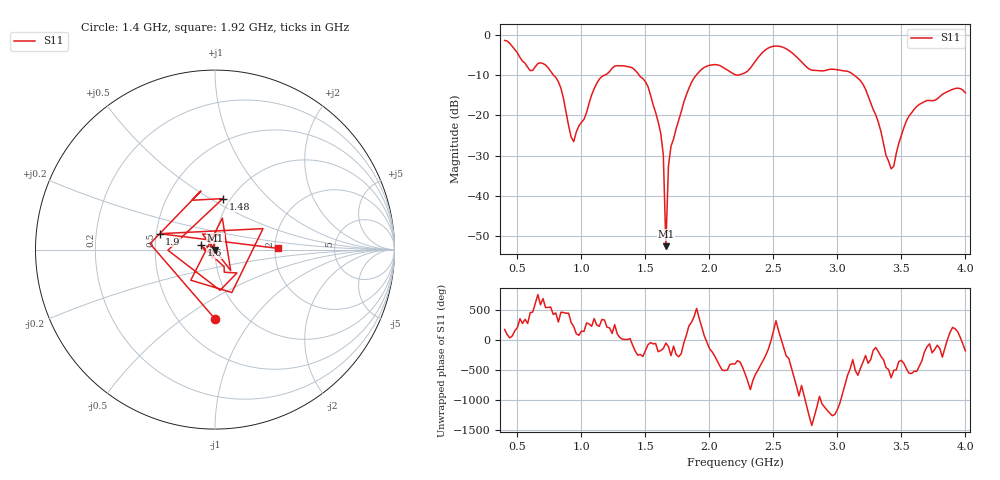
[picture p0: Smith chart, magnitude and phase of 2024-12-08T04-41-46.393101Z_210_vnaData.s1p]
!Created with skrf (http://scikit-rf.org).
# Hz S RI R 50.0
!freq ReS11 ImS11
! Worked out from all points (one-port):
!   181 points, 400 MHz to 4 GHz, reference 50 ohm
!   lowest |S11| = -52.6 dB at 1.66 GHz (marker M1), VSWR 1.00, Z = 50.1 - j0.193 ohm
!   |S11| at or under -10 dB: 781.7 MHz to 1.179 GHz (397.2 MHz wide, 40.5 % of centre); 1.452 GHz to 1.897 GHz (444.7 MHz wide, 26.6 % of centre); 3.131 GHz to end of sweep (the widest 3 of 4)
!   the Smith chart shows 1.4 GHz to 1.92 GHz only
!   S11 on the Smith chart (normalised r, x): 1.4 GHz: 0.74, -0.68; 1.48 GHz: 0.92, +0.57; 1.6 GHz: 0.85, +0.04; 1.9 GHz: 0.52, +0.10; 1.92 GHz: 2.07, +0.03
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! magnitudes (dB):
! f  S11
! 400 MHz  -1.3
! 600 MHz  -8.9
! 720 MHz  -7.5
! 860 MHz  -15.8
! 940 MHz  -26.5
! 1.14 GHz  -11.0
! 1.3 GHz  -7.6
! 1.4 GHz  -8.2
! 1.48 GHz  -10.8
! 1.6 GHz  -21.7
! 1.64 GHz  -29.8
! 1.66 GHz  -52.6
! 1.68 GHz  -32.6
! 1.7 GHz  -27.7
! 1.76 GHz  -21.2
! 1.9 GHz  -9.9
! 1.92 GHz  -9.2
! 2.04 GHz  -7.4
! 2.2 GHz  -9.9
! 2.48 GHz  -3.0
! 2.66 GHz  -4.8
! 2.8 GHz  -8.7
! 3.1 GHz  -9.3
! 3.22 GHz  -13.5
! 3.42 GHz  -33.3
! 3.56 GHz  -20.1
! 3.9 GHz  -13.5
! 4 GHz  -14.4
